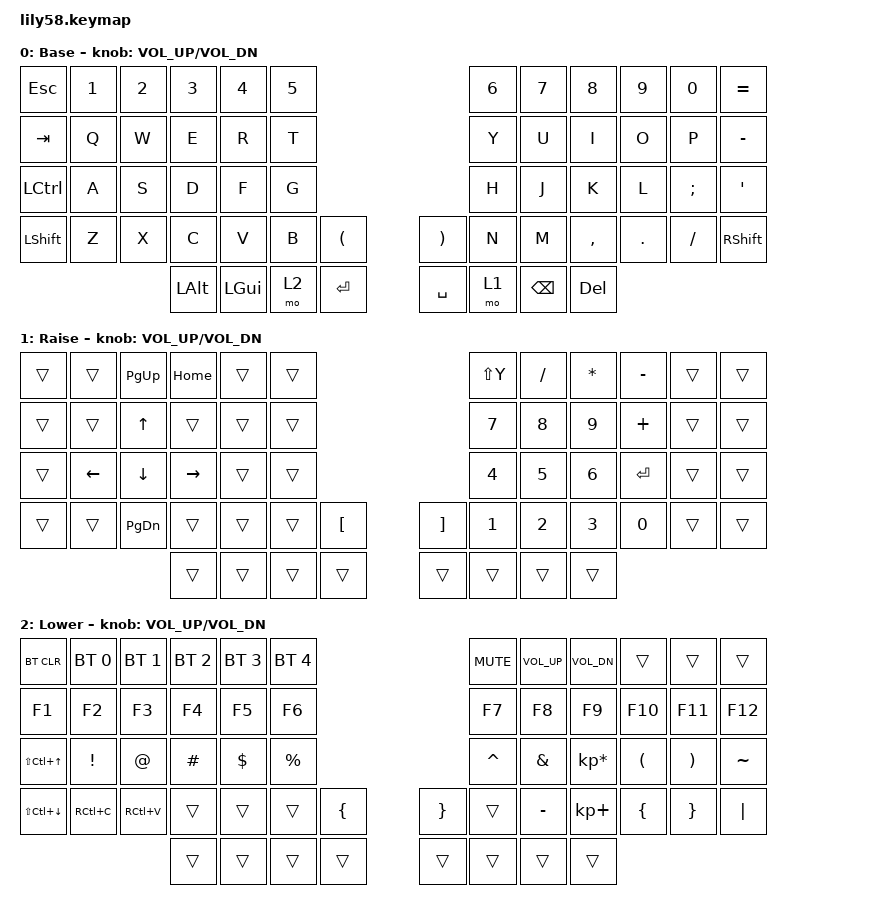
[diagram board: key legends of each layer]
/*
 * Copyright (c) 2020 The ZMK Contributors
 *
 * SPDX-License-Identifier: MIT
 */

#include <behaviors.dtsi>
#include <dt-bindings/zmk/bt.h>
#include <dt-bindings/zmk/keys.h>

/ {
    behaviors {
        new_behavior: new_behavior {
            compatible = "zmk,behavior-hold-tap";
            label = "NEW_BEHAVIOR";
            bindings = <&lt>, <&kp>;

            #binding-cells = <2>;
            tapping-term-ms = <400>;
            flavor = "tap-preferred";
        };
    };

    keymap {
        compatible = "zmk,keymap";

        default_layer {
            // ------------------------------------------------------------------------------------------------------------
            // |  ESC  |  1  |  2  |  3   |  4   |  5   |                   |  6   |  7    |  8    |  9   |   0   |   `   |
            // |  TAB  |  Q  |  W  |  E   |  R   |  T   |                   |  Y   |  U    |  I    |  O   |   P   |   -   |
            // |  CTRL |  A  |  S  |  D   |  F   |  G   |                   |  H   |  J    |  K    |  L   |   ;   |   '   |
            // | SHIFT |  Z  |  X  |  C   |  V   |  B   |   "["  |  |  "]"  |  N   |  M    |  ,    |  .   |   /   | SHIFT |
            //                     | ALT  | GUI  | LOWER|  SPACE |  | ENTER | RAISE| BSPC  | GUI   |

            label = "Base";
            bindings = <
&kp ESC    &kp N1  &kp N2  &kp N3    &kp N4    &kp N5                                                 &kp N6  &kp N7    &kp N8     &kp N9   &kp N0    &kp EQUAL
&kp TAB    &kp Q   &kp W   &kp E     &kp R     &kp T                                                  &kp Y   &kp U     &kp I      &kp O    &kp P     &kp MINUS
&kp LCTRL  &kp A   &kp S   &kp D     &kp F     &kp G                                                  &kp H   &kp J     &kp K      &kp L    &kp SEMI  &kp SQT
&kp LSHFT  &kp Z   &kp X   &kp C     &kp V     &kp B   &kp LEFT_PARENTHESIS    &kp RIGHT_PARENTHESIS  &kp N   &kp M     &kp COMMA  &kp DOT  &kp FSLH  &kp RSHFT
                           &kp LALT  &kp LGUI  &mo 2   &kp RET                 &kp SPACE              &mo 1   &kp BSPC  &kp DEL
            >;

            sensor-bindings = <&inc_dec_kp C_VOL_UP C_VOL_DN>;
        };

        raise_layer {
            // ------------------------------------------------------------------------------------------------------------
            // |       |     |     |      |      |      |                   |      |       |       |      |       |       |
            // |   `   |  1  |  2  |  3   |  4   |  5   |                   |  6   |   7   |   8   |  9   |   0   |       |
            // |   F1  |  F2 |  F3 |  F4  |  F5  |  F6  |                   |      |   <-  |   v   |  ^   |  ->   |       |
            // |   F7  |  F8 |  F9 |  F10 |  F11 |  F12 |        |  |       |  +   |   -   |   =   |  [   |   ]   |   \   |
            //                     |      |      |      |        |  |       |      |       |       |

            label = "Raise";
            bindings = <
&trans  &trans          &kp PAGE_UP    &kp HOME   &trans  &trans                                         &kp LS(Y)     &kp FSLH      &kp ASTRK     &kp MINUS     &trans  &trans
&trans  &trans          &kp UP_ARROW   &trans     &trans  &trans                                         &kp N7        &kp N8        &kp N9        &kp PLUS      &trans  &trans
&trans  &kp LEFT_ARROW  &kp DOWN       &kp RIGHT  &trans  &trans                                         &kp NUMBER_4  &kp N5        &kp NUMBER_6  &kp ENTER     &trans  &trans
&trans  &trans          &kp PAGE_DOWN  &trans     &trans  &trans  &kp LEFT_BRACKET    &kp RIGHT_BRACKET  &kp NUMBER_1  &kp NUMBER_2  &kp NUMBER_3  &kp NUMBER_0  &trans  &trans
                                       &trans     &trans  &trans  &trans              &trans             &trans        &trans        &trans
            >;

            sensor-bindings = <&inc_dec_kp C_VOL_UP C_VOL_DN>;
        };

        lower_layer {
            // ------------------------------------------------------------------------------------------------------------
            // | BTCLR | BT1 | BT2 |  BT3 |  BT4 |  BT5 |                   |      |       |       |      |       |       |
            // |  F1   |  F2 |  F3 |  F4  |  F5  |  F6  |                   |  F7  |  F8   |  F9   |  F10 |  F11  |  F12  |
            // |   `   |  !  |  @  |  #   |  $   |  %   |                   |  ^   |  &    |  *    |  (   |   )   |   ~   |
            // |       |     |     |      |      |      |        |  |       |      |  _    |  +    |  {   |   }   |  "|"  |
            //                     |      |      |      |        |  |       |      |       |       |

            label = "Lower";
            bindings = <
&bt BT_CLR            &bt BT_SEL 0  &bt BT_SEL 1  &bt BT_SEL 2  &bt BT_SEL 3  &bt BT_SEL 4                                     &kp C_MUTE  &kp C_VOL_UP  &kp C_VOL_DN     &trans    &trans    &trans
&kp F1                &kp F2        &kp F3        &kp F4        &kp F5        &kp F6                                           &kp F7      &kp F8        &kp F9           &kp F10   &kp F11   &kp F12
&kp LS(LC(UP_ARROW))  &kp EXCL      &kp AT        &kp HASH      &kp DOLLAR    &kp PRCNT                                        &kp CARET   &kp AMPS      &kp KP_MULTIPLY  &kp LPAR  &kp RPAR  &kp TILDE
&kp LS(LC(DOWN))      &kp RC(C)     &kp RC(V)     &trans        &trans        &trans        &kp LEFT_BRACE    &kp RIGHT_BRACE  &trans      &kp MINUS     &kp KP_PLUS      &kp LBRC  &kp RBRC  &kp PIPE
                                                  &trans        &trans        &trans        &trans            &trans           &trans      &trans        &trans
            >;

            sensor-bindings = <&inc_dec_kp C_VOL_UP C_VOL_DN>;
        };
    };
};
